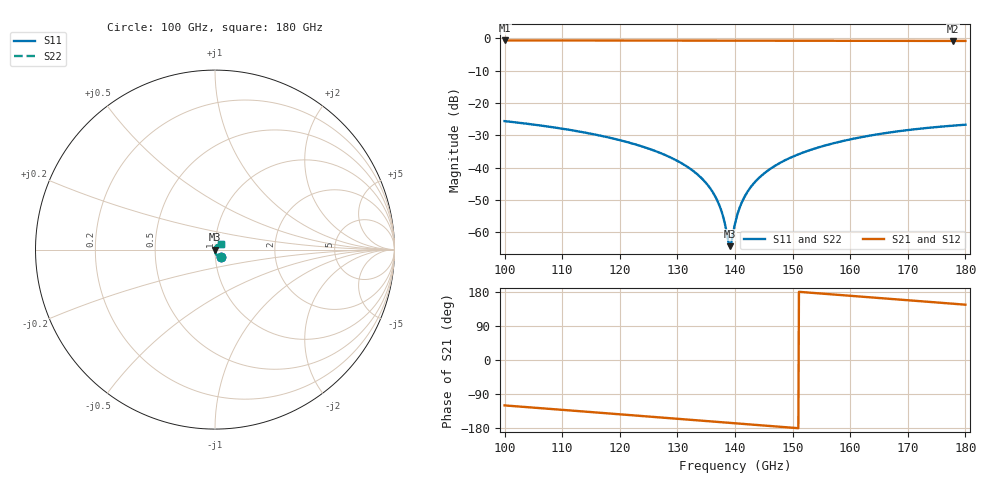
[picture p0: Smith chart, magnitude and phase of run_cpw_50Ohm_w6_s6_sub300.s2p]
#  Hz  S  RI  R  50
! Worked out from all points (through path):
!   801 points, 100 GHz to 180 GHz, reference 50 ohm
!   highest |S21| = -0.62 dB at 100 GHz (marker M1); lowest = -0.8 dB at 177.8 GHz (marker M2)
!   group delay of S21, straight-line fit = 3.28 ps
!   lowest |S11| = -64.3 dB at 139.1 GHz (marker M3), VSWR 1.00, Z = 49.9 + j0.000969 ohm
!   |S11| at or under -10 dB: start of sweep to end of sweep
!   |S22| runs from -64.3 to -25.6 dB; largest |S21 - S12| = 0
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1e11  0.0311 -0.0424  -0.463 -0.8073  -0.463 -0.8073  0.0311 -0.0424
1.134e11  0.0133 -0.0331  -0.6634 -0.6519  -0.6634 -0.6519  0.0133 -0.0331
1.208e11  0.00609 -0.0249  -0.7544 -0.5422  -0.7544 -0.5422  0.00609 -0.0249
1.267e11  0.00212 -0.0172  -0.8136 -0.4454  -0.8136 -0.4454  0.00212 -0.0172
1.318e11  6.21e-05 -0.0102  -0.8545 -0.3568  -0.8545 -0.3568  6.21e-05 -0.0102
1.353e11  -0.000595 -0.00532  -0.8771 -0.2941  -0.8771 -0.2941  -0.000595 -0.00532
1.364e11  -0.000675 -0.00377  -0.8832 -0.274  -0.8832 -0.274  -0.000675 -0.00377
1.373e11  -0.000694 -0.00251  -0.8879 -0.2576  -0.8879 -0.2576  -0.000694 -0.00251
1.38e11  -0.000682 -0.00153  -0.8913 -0.2447  -0.8913 -0.2447  -0.000682 -0.00153
1.388e11  -0.000637 -0.000409  -0.8951 -0.23  -0.8951 -0.23  -0.000637 -0.000409
1.391e11  -0.000612 9.7e-06  -0.8964 -0.2244  -0.8964 -0.2244  -0.000612 9.7e-06
1.394e11  -0.000582 0.000427  -0.8977 -0.2189  -0.8977 -0.2189  -0.000582 0.000427
1.4e11  -0.000509 0.00126  -0.9002 -0.2078  -0.9002 -0.2078  -0.000509 0.00126
1.407e11  -0.000402 0.00223  -0.9029 -0.1947  -0.9029 -0.1947  -0.000402 0.00223
1.416e11  -0.000228 0.00347  -0.9062 -0.178  -0.9062 -0.178  -0.000228 0.00347
1.441e11  0.000467 0.00686  -0.9136 -0.1311  -0.9136 -0.1311  0.000467 0.00686
1.48e11  0.00216 0.0119  -0.9204 -0.0573  -0.9204 -0.0573  0.00216 0.0119
1.534e11  0.00568 0.0184  -0.9201 0.0452  -0.9201 0.0452  0.00568 0.0184
1.594e11  0.011 0.0243  -0.9061 0.1584  -0.9061 0.1584  0.011 0.0243
1.667e11  0.0191 0.0293  -0.87 0.2918  -0.87 0.2918  0.0191 0.0293
1.778e11  0.0319 0.0314  -0.78 0.4776  -0.78 0.4776  0.0319 0.0314
1.8e11  0.0343 0.0311  -0.7583 0.5118  -0.7583 0.5118  0.0343 0.0311
